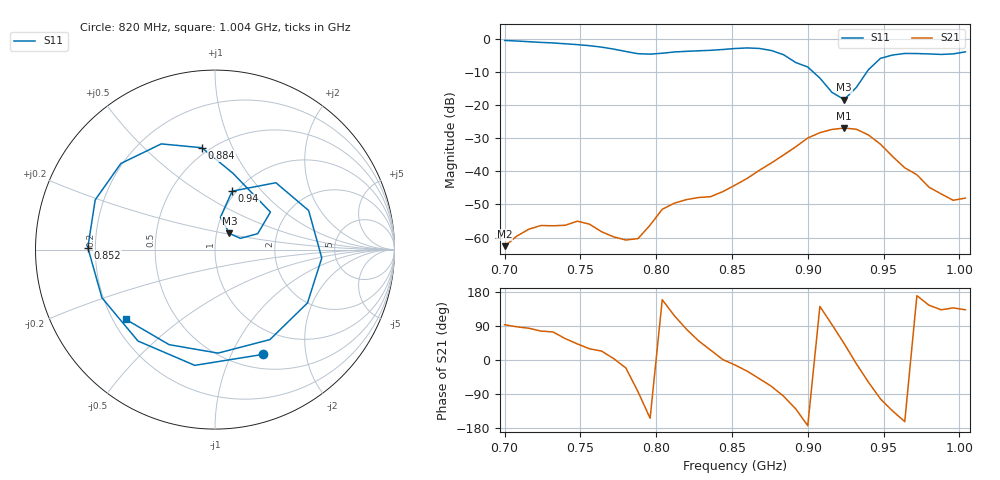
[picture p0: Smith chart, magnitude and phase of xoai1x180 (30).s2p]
# Hz S RI R 50
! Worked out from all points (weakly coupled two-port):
!   39 points, 700 MHz to 1.004 GHz, reference 50 ohm
!   highest |S21| = -26.97 dB at 924 MHz (marker M1); lowest = -62.6 dB at 700 MHz (marker M2)
!   lowest |S11| = -18.4 dB at 924 MHz (marker M3), VSWR 1.27, Z = 57.7 + j10.5 ohm
!   |S11| at or under -10 dB: 903.4 MHz to 939.1 MHz (35.65 MHz wide, 3.87 % of centre)
!   S12 and S22 are empty: the file has one direction only
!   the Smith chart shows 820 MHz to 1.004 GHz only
!   S11 on the Smith chart (normalised r, x): 820 MHz: 0.67, -1.33; 852 MHz: 0.17, +0.01; 884 MHz: 0.46, +0.77; 940 MHz: 0.96, +0.70; 1.004 GHz: 0.25, -0.32
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7e8  0.7587 0.5501  -3.88e-05 0.000743  0 0  0 0
7.24e8  0.84 -0.2477  0.00036 0.00148  0 0  0 0
7.4e8  0.4561 -0.6993  0.000849 0.00128  0 0  0 0
7.56e8  -0.1928 -0.7573  0.00139 0.000787  0 0  0 0
7.72e8  -0.6653 -0.1976  0.00102 6.46e-05  0 0  0 0
7.8e8  -0.5958 0.231  0.000859 -0.000332  0 0  0 0
7.88e8  -0.2424 0.5396  0.000108 -0.000961  0 0  0 0
7.96e8  0.2519 0.5257  -0.00139 -0.000683  0 0  0 0
8.04e8  0.5772 0.1687  -0.0025 0.000956  0 0  0 0
8.2e8  0.2683 -0.5836  0.000575 0.0037  0 0  0 0
8.36e8  -0.4289 -0.5094  0.00374 0.0018  0 0  0 0
8.52e8  -0.7086 0.0112  0.00601 -0.00142  0 0  0 0
8.68e8  -0.5243 0.48  0.00675 -0.00781  0 0  0 0
8.84e8  -0.0732 0.5675  -0.00163 -0.0175  0 0  0 0
9e8  0.3088 0.2089  -0.0315 -0.00373  0 0  0 0
9.08e8  0.238 0.0887  -0.0299 0.0238  0 0  0 0
9.24e8  0.0804 0.0901  0.0326 0.0308  0 0  0 0
9.4e8  0.0957 0.3256  0.0185 -0.03  0 0  0 0
9.56e8  0.5218 0.2177  -0.0117 -0.0119  0 0  0 0
9.64e8  0.5949 -0.0465  -0.0108 -0.00337  0 0  0 0
9.8e8  0.3058 -0.5015  -0.00469 0.00334  0 0  0 0
1.004e9  -0.4974 -0.3883  -0.00267 0.00291  0 0  0 0
